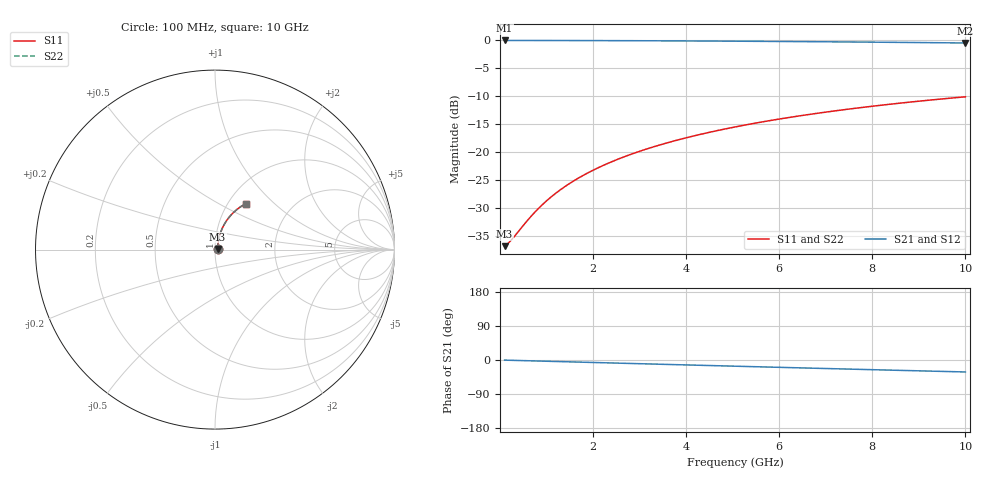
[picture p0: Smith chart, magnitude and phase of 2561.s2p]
# Hz S RI R 50.00
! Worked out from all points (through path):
!   100 points, 100 MHz to 10 GHz, reference 50 ohm
!   highest |S21| = -0.12 dB at 100 MHz (marker M1); lowest = -0.6 dB at 10 GHz (marker M2)
!   group delay of S21, straight-line fit = 8.79 ps
!   lowest |S11| = -36.8 dB at 100 MHz (marker M3), VSWR 1.03, Z = 51.4 + j0.339 ohm
!   |S11| at or under -10 dB: start of sweep to end of sweep
!   |S22| runs from -36.8 to -10.2 dB; largest |S21 - S12| = 0
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1e8  0.0141 0.0033  0.9859 -0.00562  0.9859 -0.00562  0.0141 0.0033
2e8  0.0143 0.00659  0.9857 -0.0112  0.9857 -0.0112  0.0143 0.00659
3e8  0.0144 0.00989  0.9855 -0.0168  0.9855 -0.0168  0.0144 0.00989
5e8  0.0148 0.0165  0.9851 -0.0281  0.9851 -0.0281  0.0148 0.0165
7e8  0.0154 0.023  0.9845 -0.0393  0.9845 -0.0393  0.0154 0.023
8e8  0.0157 0.0263  0.9841 -0.0449  0.9841 -0.0449  0.0157 0.0263
1e9  0.0164 0.0329  0.9833 -0.0561  0.9833 -0.0561  0.0164 0.0329
1.2e9  0.0173 0.0394  0.9823 -0.0672  0.9823 -0.0672  0.0173 0.0394
1.4e9  0.0183 0.0459  0.9811 -0.0783  0.9811 -0.0783  0.0183 0.0459
1.6e9  0.0195 0.0523  0.9798 -0.0895  0.9798 -0.0895  0.0195 0.0523
1.8e9  0.0208 0.0588  0.9783 -0.1005  0.9783 -0.1005  0.0208 0.0588
2.1e9  0.023 0.0684  0.9757 -0.1171  0.9757 -0.1171  0.023 0.0684
2.5e9  0.0265 0.081  0.9718 -0.139  0.9718 -0.139  0.0265 0.081
2.9e9  0.0305 0.0934  0.9672 -0.1607  0.9672 -0.1607  0.0305 0.0934
3.4e9  0.0363 0.1086  0.9605 -0.1876  0.9605 -0.1876  0.0363 0.1086
4.2e9  0.0472 0.1321  0.9479 -0.2297  0.9479 -0.2297  0.0472 0.1321
5.1e9  0.0619 0.1571  0.9309 -0.2756  0.9309 -0.2756  0.0619 0.1571
5.9e9  0.0768 0.1778  0.9136 -0.315  0.9136 -0.315  0.0768 0.1778
6.7e9  0.0933 0.1969  0.8942 -0.3528  0.8942 -0.3528  0.0933 0.1969
7.5e9  0.1113 0.2143  0.8731 -0.3889  0.8731 -0.3889  0.1113 0.2143
8.4e9  0.133 0.2317  0.8474 -0.4275  0.8474 -0.4275  0.133 0.2317
1e10  0.1744 0.2568  0.7976 -0.4903  0.7976 -0.4903  0.1744 0.2568
